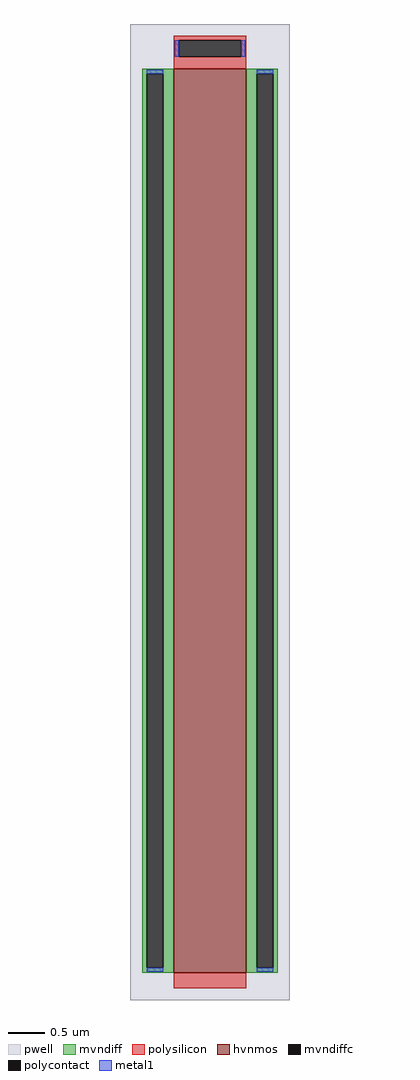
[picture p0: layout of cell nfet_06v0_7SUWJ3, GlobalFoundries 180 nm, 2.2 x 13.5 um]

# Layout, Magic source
magic
tech gf180mcuD
magscale 1 10
<< pwell >>
rect -220 -1350 220 1350
<< hvnmos >>
rect -100 -1274 100 1226
<< mvndiff >>
rect -188 1213 -100 1226
rect -188 -1261 -175 1213
rect -129 -1261 -100 1213
rect -188 -1274 -100 -1261
rect 100 1213 188 1226
rect 100 -1261 129 1213
rect 175 -1261 188 1213
rect 100 -1274 188 -1261
<< mvndiffc >>
rect -175 -1261 -129 1213
rect 129 -1261 175 1213
<< polysilicon >>
rect -100 1305 100 1318
rect -100 1259 -87 1305
rect 87 1259 100 1305
rect -100 1226 100 1259
rect -100 -1318 100 -1274
<< polycontact >>
rect -87 1259 87 1305
<< metal1 >>
rect -98 1259 -87 1305
rect 87 1259 98 1305
rect -175 1213 -129 1224
rect -175 -1272 -129 -1261
rect 129 1213 175 1224
rect 129 -1272 175 -1261
<< properties >>
string gencell nfet_06v0
string library gf180mcu
string parameters w 12.5 l 1 m 1 nf 1 diffcov 100 polycov 100 guard 0 glc 0 grc 0 gtc 0 gbc 0 tbcov 100 rlcov 100 topc 1 botc 0 poverlap 0 doverlap 1 lmin 0.7 wmin 0.3 class mosfet full_metal 0 compatible {nfet_03v3 nfet_05v0 nfet_06v0 nfet_06v0_nvt}
<< end >>
